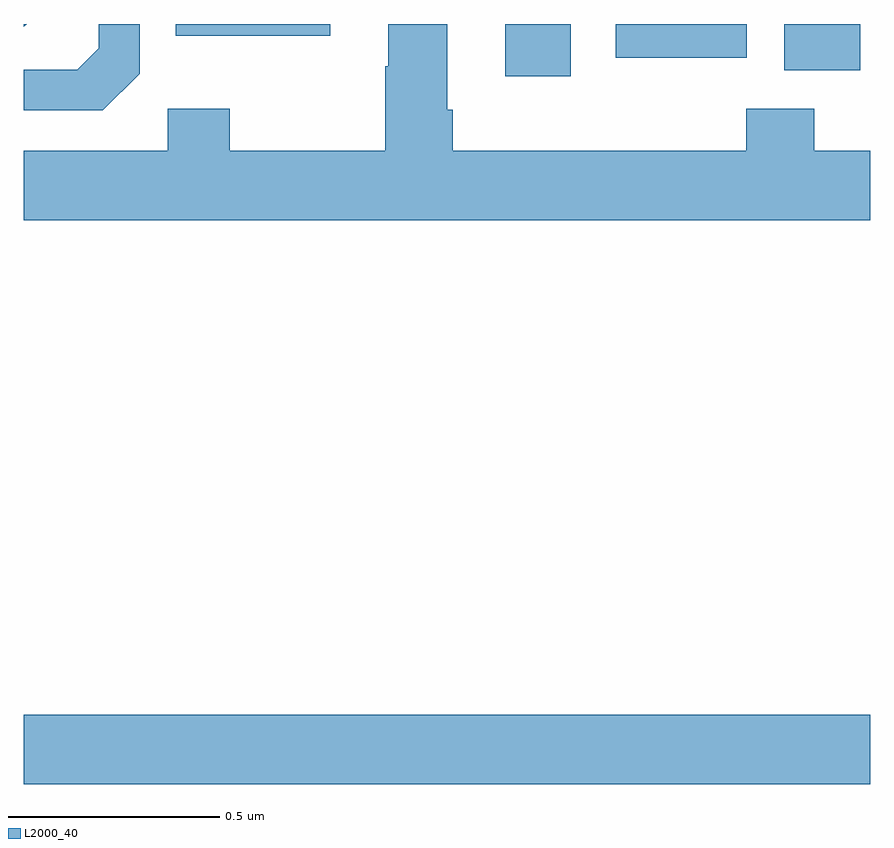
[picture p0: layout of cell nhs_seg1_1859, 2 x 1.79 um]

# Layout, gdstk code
import gdstk
lib = gdstk.Library(unit=1e-6, precision=1e-09)
def R(c, l, rs):  # rectangles x0, y0, x1, y1
    for r in rs: c.add(gdstk.rectangle(r[:2], r[2:], *l))
def P(c, l, *ps):  # polygons
    for p in ps: c.add(gdstk.Polygon(p, *l))
L2000_40 = (2000, 40)

nhs_seg1_1859 = lib.new_cell('nhs_seg1_1859')
R(nhs_seg1_1859, L2000_40, [(134,546.404,136,546.568), (135.137,548.076,135.292,548.199), (135.797,548.09,135.976,548.199), (135.399,548.119,135.708,548.199), (134.359,548.171,134.724,548.199)])
P(nhs_seg1_1859, L2000_40, [(136,547.9),(135.867,547.9),(135.867,547.999),(135.707,547.999),(135.707,547.9),(135.014,547.9),(135.014,547.996),(135.001,547.996),(135.001,548.199),(134.861,548.199),(134.861,548.099),(134.854,548.099),(134.854,547.9),(134.487,547.9),(134.487,547.999),(134.34,547.999),(134.34,547.9),(134,547.9),(134,547.736),(136,547.736)],
  [(134.007,548.199),(134,548.199),(134,548.192)],
  [(134.274,548.082),(134.274,548.199),(134.178,548.199),(134.178,548.142),(134.127,548.091),(134,548.091),(134,547.995),(134.187,547.995)])

lib.write_gds('nhs_seg1_1859.gds')
